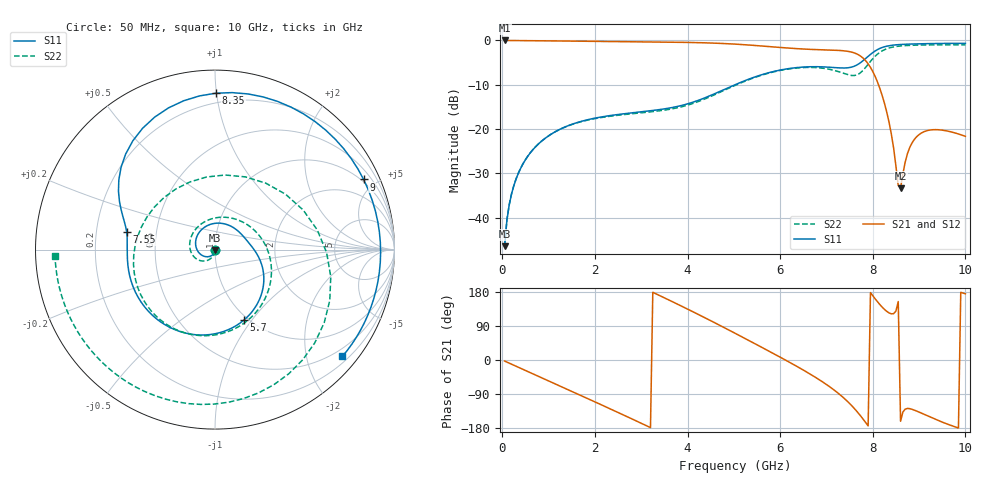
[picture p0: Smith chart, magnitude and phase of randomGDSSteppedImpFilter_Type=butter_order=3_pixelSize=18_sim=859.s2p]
! freq	dB(S11)	phase(S11)	dB(S12)	phase(S12)
!  dB(S21)	phase(S21)	dB(S22)	phase(S22)
!S-par simulation data
#  GHz  S  DB  R 50
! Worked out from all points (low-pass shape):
!   200 points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, 50 MHz to 10 GHz, reference 50 ohm
!   highest |S21| = -0.01 dB at 50 MHz (marker M1); lowest = -33.3 dB at 8.6 GHz (marker M2)
!   |S21| within 3 dB of the highest: start of sweep to 7.646 GHz
!   lowest |S11| = -46.4 dB at 50 MHz (marker M3), VSWR 1.01, Z = 50 - j0.478 ohm
!   |S11| at or under -10 dB: start of sweep to 5.022 GHz
!   |S22| runs from -46.3 to -1.0 dB; largest |S21 - S12| = 0
!   S11 on the Smith chart (normalised r, x): 50 MHz: 1.00, -0.01; 5.7 GHz: 0.95, -0.91; 7.55 GHz: 0.33, +0.09; 8.35 GHz: 0.14, +1.00; 9 GHz: 0.89, +4.29; 10 GHz: 0.32, -2.72
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0.05  -46.40 -92.8  -0.01 -2.8  -0.01 -2.8  -46.34 -91.1
0.2  -34.62 -103.3  -0.02 -11.1  -0.02 -11.1  -34.58 -97.5
0.5  -26.91 -125.4  -0.05 -27.7  -0.05 -27.7  -26.88 -110.8
1.15  -20.55 -171.8  -0.11 -63.5  -0.11 -63.5  -20.56 -137.2
1.75  -18.12 144.7  -0.18 -96.6  -0.18 -96.6  -18.20 -160.4
2.65  -16.51 80.8  -0.27 -147.0  -0.27 -147.0  -16.70 162.9
3.4  -15.59 36.7  -0.35 170.0  -0.35 170.0  -15.86 121.2
4.3  -13.25 0.0  -0.52 116.1  -0.52 116.1  -13.51 50.4
5.05  -9.88 -32.0  -0.85 69.1  -0.85 69.1  -10.03 -11.1
5.7  -7.43 -67.9  -1.34 27.1  -1.34 27.1  -7.52 -58.3
6.2  -6.33 -99.6  -1.74 -5.9  -1.74 -5.9  -6.41 -92.3
6.7  -5.92 -134.2  -2.04 -41.0  -2.04 -41.0  -6.09 -128.0
7.2  -6.14 -169.9  -2.22 -82.5  -2.22 -82.5  -6.85 -175.6
7.55  -5.99 168.8  -2.65 -121.1  -2.65 -121.1  -7.91 122.9
7.8  -4.49 153.2  -4.07 -157.4  -4.07 -157.4  -6.63 52.6
8  -2.75 133.1  -7.01 169.7  -7.01 169.7  -4.12 -1.5
8.35  -1.20 89.6  -18.37 124.4  -18.37 124.4  -1.71 -66.4
8.6  -0.92 61.9  -33.31 -161.7  -33.31 -161.7  -1.25 -95.1
8.75  -0.84 47.2  -25.50 -127.8  -25.50 -127.8  -1.14 -108.3
9  -0.77 25.3  -21.24 -137.6  -21.24 -137.6  -1.05 -126.2
9.45  -0.68 -7.7  -20.17 -161.5  -20.17 -161.5  -1.00 -151.8
10  -0.66 -40.0  -21.63 174.7  -21.63 174.7  -0.99 -177.6
